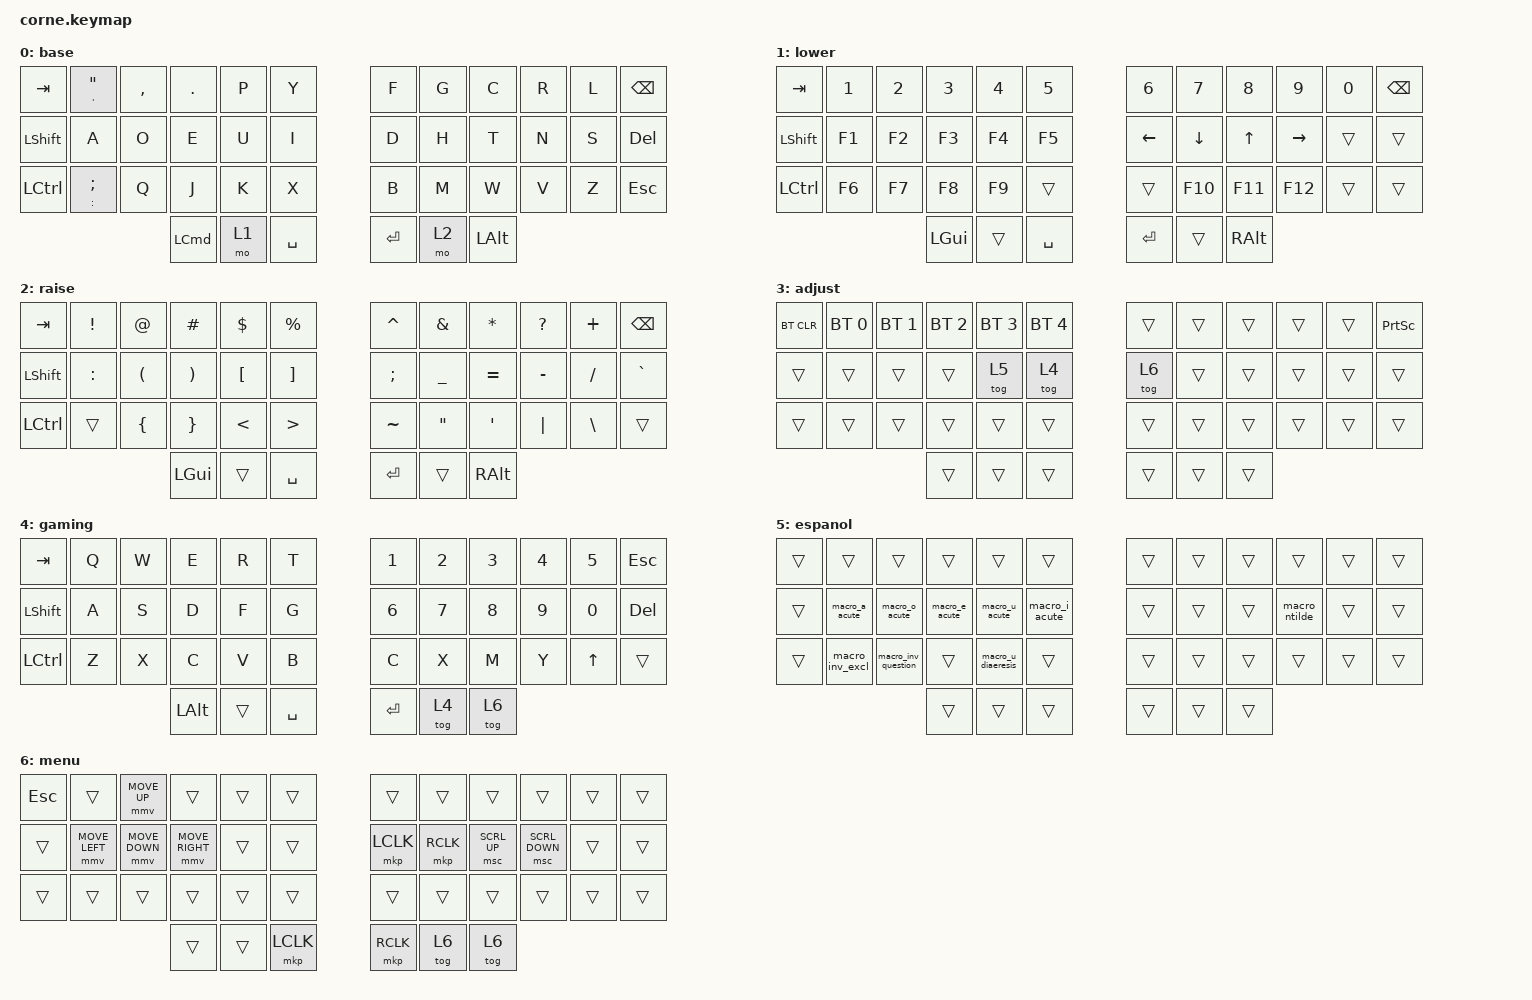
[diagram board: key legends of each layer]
/*
 * Copyright (c) 2020 The ZMK Contributors
 *
 * SPDX-License-Identifier: MIT
 */

#include <behaviors.dtsi>
#include <dt-bindings/zmk/keys.h>
#include <dt-bindings/zmk/bt.h>
#include <dt-bindings/zmk/pointing.h>

&mt {
        flavor = "tap-preferred";
        tapping_term_ms = <285>;
};

/ {
        macros {
                // Spanish characters via Windows Alt codes
                macro_a_acute: macro_a_acute {
                        compatible = "zmk,behavior-macro";
                        #binding-cells = <0>;
                        wait-ms = <40>;
                        tap-ms = <40>;
                        bindings
                                = <&macro_press &kp LALT>
                                , <&macro_tap &kp KP_N0 &kp KP_N2 &kp KP_N2 &kp KP_N5>
                                , <&macro_release &kp LALT>
                                ;
                };
                macro_e_acute: macro_e_acute {
                        compatible = "zmk,behavior-macro";
                        #binding-cells = <0>;
                        wait-ms = <40>;
                        tap-ms = <40>;
                        bindings
                                = <&macro_press &kp LALT>
                                , <&macro_tap &kp KP_N0 &kp KP_N2 &kp KP_N3 &kp KP_N3>
                                , <&macro_release &kp LALT>
                                ;
                };
                macro_i_acute: macro_i_acute {
                        compatible = "zmk,behavior-macro";
                        #binding-cells = <0>;
                        wait-ms = <40>;
                        tap-ms = <40>;
                        bindings
                                = <&macro_press &kp LALT>
                                , <&macro_tap &kp KP_N0 &kp KP_N2 &kp KP_N3 &kp KP_N7>
                                , <&macro_release &kp LALT>
                                ;
                };
                macro_o_acute: macro_o_acute {
                        compatible = "zmk,behavior-macro";
                        #binding-cells = <0>;
                        wait-ms = <40>;
                        tap-ms = <40>;
                        bindings
                                = <&macro_press &kp LALT>
                                , <&macro_tap &kp KP_N0 &kp KP_N2 &kp KP_N4 &kp KP_N3>
                                , <&macro_release &kp LALT>
                                ;
                };
                macro_u_acute: macro_u_acute {
                        compatible = "zmk,behavior-macro";
                        #binding-cells = <0>;
                        wait-ms = <40>;
                        tap-ms = <40>;
                        bindings
                                = <&macro_press &kp LALT>
                                , <&macro_tap &kp KP_N0 &kp KP_N2 &kp KP_N5 &kp KP_N0>
                                , <&macro_release &kp LALT>
                                ;
                };
                macro_ntilde: macro_ntilde {
                        compatible = "zmk,behavior-macro";
                        #binding-cells = <0>;
                        wait-ms = <40>;
                        tap-ms = <40>;
                        bindings
                                = <&macro_press &kp LALT>
                                , <&macro_tap &kp KP_N0 &kp KP_N2 &kp KP_N4 &kp KP_N1>
                                , <&macro_release &kp LALT>
                                ;
                };
                macro_u_diaeresis: macro_u_diaeresis {
                        compatible = "zmk,behavior-macro";
                        #binding-cells = <0>;
                        wait-ms = <40>;
                        tap-ms = <40>;
                        bindings
                                = <&macro_press &kp LALT>
                                , <&macro_tap &kp KP_N0 &kp KP_N2 &kp KP_N5 &kp KP_N2>
                                , <&macro_release &kp LALT>
                                ;
                };
                macro_inv_question: macro_inv_question {
                        compatible = "zmk,behavior-macro";
                        #binding-cells = <0>;
                        wait-ms = <40>;
                        tap-ms = <40>;
                        bindings
                                = <&macro_press &kp LALT>
                                , <&macro_tap &kp KP_N0 &kp KP_N1 &kp KP_N9 &kp KP_N1>
                                , <&macro_release &kp LALT>
                                ;
                };
                macro_inv_excl: macro_inv_excl {
                        compatible = "zmk,behavior-macro";
                        #binding-cells = <0>;
                        wait-ms = <40>;
                        tap-ms = <40>;
                        bindings
                                = <&macro_press &kp LALT>
                                , <&macro_tap &kp KP_N0 &kp KP_N1 &kp KP_N6 &kp KP_N1>
                                , <&macro_release &kp LALT>
                                ;
                };
        };

        conditional_layers {
                compatible = "zmk,conditional-layers";
                adjust_layer {
                        if-layers = <1 2>;
                        then-layer = <3>;
                };
        };

        keymap {
                compatible = "zmk,keymap";

                base {
// -----------------------------------------------------------------------------------------
// | TAB       | ' " | ,   | .   |  P  |  Y  |         | F   |  G   |  C  |  R  |  L  | BKSP |
// | LSHFT     |  A  |  O  |  E  |  U  |  I  |         |  D  |  H   |  T  |  N  |  S  |  DEL |
// | LCTRL     | : ; |  Q  |  J  |  K  |  X  |         |  B  |  M   |  W  |  V  |  Z  | ESC  |
//                     | COMMAND | LWR | SPC |         | ENT | RSE  |  ALT  |

                        bindings = <
&kp TAB    &mt SQT DOUBLE_QUOTES  &kp COMMA  &kp DOT           &kp P  &kp Y        &kp F      &kp G  &kp C     &kp R  &kp L  &kp BSPC
&kp LSHFT  &kp A                  &kp O      &kp E             &kp U  &kp I        &kp D      &kp H  &kp T     &kp N  &kp S  &kp DEL
&kp LCTRL  &mt COLON SEMICOLON    &kp Q      &kp J             &kp K  &kp X        &kp B      &kp M  &kp W     &kp V  &kp Z  &kp ESC
                                              &kp LEFT_COMMAND  &mo 1  &kp SPACE    &kp ENTER  &mo 2  &kp LALT
            >;
        };

                lower {
// -----------------------------------------------------------------------------------------
// | TAB  |   1  |   2  |   3  |  4  |  5  |            |  6  |  7   |  8  |  9  |  0  | BSPC  |
// | SHF  |  F1  |  F2  |  F3  | F4  | F5  |            | LFT | DWN  | UP  | RGT |     |       |
// | CTRL |  F6  |  F7  |  F8  | F9  |     |            |     | F10  | F11 | F12 |     |       |
//                   | COMMAND |     | SPC |            | ENT |      | ALT |
                        bindings = <
&kp TAB    &kp N1  &kp N2  &kp N3    &kp N4  &kp N5       &kp N6     &kp N7    &kp N8    &kp N9     &kp N0  &kp BSPC
&kp LSHFT  &kp F1  &kp F2  &kp F3    &kp F4  &kp F5       &kp LEFT   &kp DOWN  &kp UP    &kp RIGHT  &trans  &trans
&kp LCTRL  &kp F6  &kp F7  &kp F8    &kp F9  &trans       &trans     &kp F10   &kp F11   &kp F12    &trans  &trans
                           &kp LGUI  &trans  &kp SPACE    &kp ENTER  &trans    &kp RALT
            >;
        };

                raise {
// -----------------------------------------------------------------------------------------
// |  TAB |  !  |  @  |  #  |  $  |  %  |        |  ^  |  &  |  *  |  ?  |  +  | BKSP |
// | SHF  |  :  |  (  |  )  |  [  |  ]  |        |  ;  |  _  |  =  |  -  |  /  |  `   |
// | CTRL |     |  {  |  }  |  <  |  >  |        |  ~  |  "  |  '  |  |  |  \  |      |
//                | COMMAND |     | SPC |        | ENT |     | ALT |
                        bindings = <
&kp TAB    &kp EXCLAMATION  &kp AT                &kp HASH          &kp DOLLAR      &kp PERCENT          &kp CARET      &kp AMPERSAND      &kp STAR   &kp QUESTION  &kp PLUS       &kp BSPC
&kp LSHFT  &kp COLON        &kp LEFT_PARENTHESIS  &kp RIGHT_PARENTHESIS  &kp LEFT_BRACKET  &kp RIGHT_BRACKET    &kp SEMICOLON  &kp UNDERSCORE     &kp EQUAL  &kp MINUS     &kp SLASH      &kp GRAVE
&kp LCTRL  &trans           &kp LEFT_BRACE        &kp RIGHT_BRACE   &kp LESS_THAN   &kp GREATER_THAN     &kp TILDE      &kp DOUBLE_QUOTES  &kp SQT    &kp PIPE      &kp BACKSLASH  &trans
                                                   &kp LGUI          &trans          &kp SPACE            &kp ENTER      &trans             &kp RALT
            >;
        };

                adjust {
// -----------------------------------------------------------------------------------------
// | BTCLR | BT1  | BT2  | BT3  | BT4  | BT5  |        |     |     |     |     |     | PSCRN |
// |       |      |      |      | ESP  | GAME |        | MNU |     |     |     |     |       |
// |       |      |      |      |      |      |        |     |     |     |     |     |       |
//                       |      |      |      |        |     |     |     |
                        bindings = <
&bt BT_CLR  &bt BT_SEL 0  &bt BT_SEL 1  &bt BT_SEL 2  &bt BT_SEL 3  &bt BT_SEL 4    &trans  &trans  &trans  &trans  &trans  &kp PRINTSCREEN
&trans      &trans         &trans         &trans         &tog 5         &tog 4          &tog 6  &trans  &trans  &trans  &trans  &trans
&trans      &trans         &trans         &trans         &trans         &trans          &trans  &trans  &trans  &trans  &trans  &trans
                                         &trans         &trans         &trans          &trans  &trans  &trans
            >;
        };

                gaming {
// -----------------------------------------------------------------------------------------
// | TAB  |  Q  |  W  |  E  |  R  |  T  |        |  1  |  2  |  3  |  4  |  5  | ESC  |
// | SHFT |  A  |  S  |  D  |  F  |  G  |        |  6  |  7  |  8  |  9  |  0  | DEL  |
// | CTRL |  Z  |  X  |  C  |  V  |  B  |        |  C  |  X  |  M  |  Y  | UP  |      |
//                    | ALT |     | SPC |        | ENT | tog | MNU |
                        bindings = <
&kp TAB    &kp Q  &kp W  &kp E     &kp R   &kp T        &kp N1     &kp N2  &kp N3  &kp N4  &kp N5   &kp ESC
&kp LSHFT  &kp A  &kp S  &kp D     &kp F   &kp G        &kp N6     &kp N7  &kp N8  &kp N9  &kp N0   &kp DEL
&kp LCTRL  &kp Z  &kp X  &kp C     &kp V   &kp B        &kp C      &kp X   &kp M   &kp Y   &kp UP   &trans
                          &kp LALT  &trans  &kp SPACE    &kp ENTER  &tog 4  &tog 6
            >;
        };

                espanol {
// -----------------------------------------------------------------------------------------
// |      |     |     |     |     |     |         |     |     |     |     |     |      |
// |      |  á  |  ó  |  é  |  ú  |  í  |         |     |     |     |  ñ  |     |      |
// |      |  ¡  |  ¿  |     |  ü  |     |         |     |     |     |     |     |      |
//                    |     |     |     |         |     |     | ### |
                        bindings = <
&trans  &trans           &trans              &trans  &trans              &trans     &trans  &trans  &trans  &trans          &trans  &trans
&trans  &macro_a_acute   &macro_o_acute      &macro_e_acute  &macro_u_acute  &macro_i_acute     &trans  &trans  &trans  &macro_ntilde   &trans  &trans
&trans  &macro_inv_excl  &macro_inv_question &trans  &macro_u_diaeresis  &trans     &trans  &trans  &trans  &trans          &trans  &trans
                                             &trans  &trans              &trans     &trans  &trans  &trans
            >;
        };

                menu {
// -----------------------------------------------------------------------------------------
// | ESC   |       | M-Up  |       |       |       |        |       |       |        |        |       |       |
// |       | M-Lft | M-Dwn | M-Rgt |       |       |        |  LCK  |  RCK  | SCRL↑  | SCRL↓  |       |       |
// |       |       |       |       |       |       |        |       |       |        |        |       |       |
//                          |       |       |  LCK  |        |  RCK  | tog 6 | tog 6 |
                        bindings = <
&kp ESC  &trans          &mmv MOVE_UP    &trans           &trans  &trans       &trans         &trans         &trans            &trans            &trans  &trans
&trans   &mmv MOVE_LEFT  &mmv MOVE_DOWN  &mmv MOVE_RIGHT  &trans  &trans       &mkp LCLK      &mkp RCLK      &msc SCRL_UP      &msc SCRL_DOWN    &trans  &trans
&trans   &trans          &trans          &trans           &trans  &trans       &trans         &trans         &trans            &trans            &trans  &trans
                                         &trans           &trans  &mkp LCLK    &mkp RCLK      &tog 6         &tog 6
            >;
        };
    };
};
